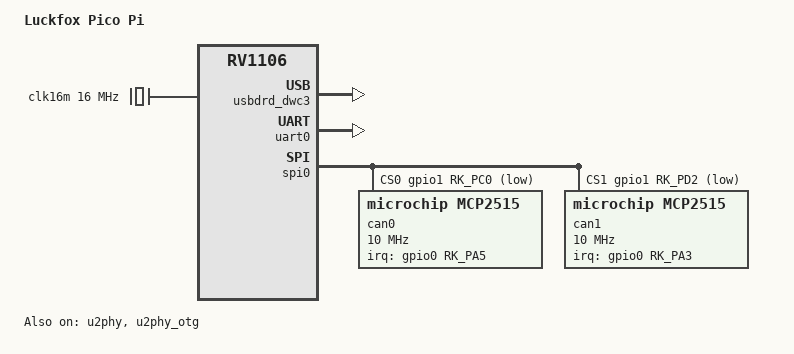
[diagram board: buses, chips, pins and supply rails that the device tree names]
// SPDX-License-Identifier: (GPL-2.0+ OR MIT)
/*
 * Copyright (c) 2022 Rockchip Electronics Co., Ltd.
 */

/dts-v1/;

#include "rv1106-luckfox-core1106.dtsi"

/ {
	model = "Luckfox Pico Pi";
	compatible = "luckfox,core1106-pico-pi-w", "luckfox,core1106", "rockchip,rv1106";

	chosen {
		stdout-path = "serial0:115200n8";
	};

	clocks {
		clk16m: clk16m {
			compatible = "fixed-clock";
			#clock-cells = <0>;
			clock-frequency = <16000000>;
			clock-output-names = "clk16m";
		};
	};
};

&u2phy {
	status = "okay";
};

&u2phy_otg {
	status = "okay";
};

&usbdrd_dwc3 {
	status = "okay";
	usb-role-switch;
};

&uart0 {
	pinctrl-0 = <&uart0m0_xfer>;
	status = "okay";
};

&spi0 {
	pinctrl-0 = <&spi0m0_pins>;
	cs-gpios = <&gpio1 RK_PC0 GPIO_ACTIVE_LOW>, <&gpio1 RK_PD2 GPIO_ACTIVE_LOW>;
	status = "okay";

	can0: can@0 {
		compatible = "microchip,mcp2515";
		reg = <0>;
		clocks = <&clk16m>;
		interrupt-parent = <&gpio0>;
		interrupts = <RK_PA5 IRQ_TYPE_LEVEL_LOW>;
		spi-max-frequency = <10000000>;
	};

	can1: can@1 {
		compatible = "microchip,mcp2515";
		reg = <1>;
		clocks = <&clk16m>;
		interrupt-parent = <&gpio0>;
		interrupts = <RK_PA3 IRQ_TYPE_LEVEL_LOW>;
		spi-max-frequency = <10000000>;
	};
};
